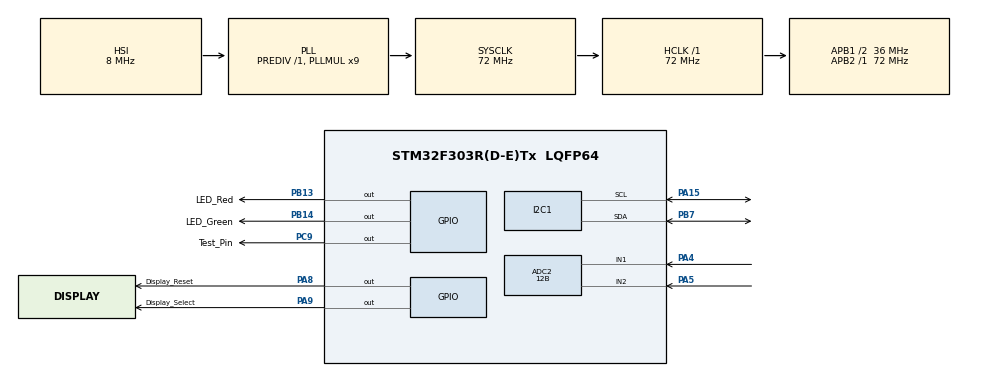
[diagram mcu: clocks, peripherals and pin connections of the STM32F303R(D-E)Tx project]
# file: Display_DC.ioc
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ADC1.Channel-1\#ChannelRegularConversion=ADC_CHANNEL_TEMPSENSOR
ADC1.NbrOfConversionFlag=1
ADC1.Offset-1\#ChannelRegularConversion=0
ADC1.OffsetNumber-1\#ChannelRegularConversion=ADC_OFFSET_NONE
ADC1.Rank-1\#ChannelRegularConversion=1
ADC1.SamplingTime-1\#ChannelRegularConversion=ADC_SAMPLETIME_1CYCLE_5
ADC1.master=1
ADC2.Channel-0\#ChannelRegularConversion=ADC_CHANNEL_2
ADC2.Channel-1\#ChannelRegularConversion=ADC_CHANNEL_1
ADC2.Channel-2\#ChannelRegularConversion=ADC_CHANNEL_VREFINT
ADC2.ContinuousConvMode=ENABLE
ADC2.DMAContinuousRequests=DISABLE
ADC2.NbrOfConversion=3
ADC2.NbrOfConversionFlag=1
ADC2.Offset-0\#ChannelRegularConversion=0
ADC2.Offset-1\#ChannelRegularConversion=0
ADC2.Offset-2\#ChannelRegularConversion=0
ADC2.OffsetNumber-0\#ChannelRegularConversion=ADC_OFFSET_NONE
ADC2.OffsetNumber-1\#ChannelRegularConversion=ADC_OFFSET_NONE
ADC2.OffsetNumber-2\#ChannelRegularConversion=ADC_OFFSET_NONE
ADC2.Rank-0\#ChannelRegularConversion=1
ADC2.Rank-1\#ChannelRegularConversion=2
ADC2.Rank-2\#ChannelRegularConversion=3
ADC2.Resolution=ADC_RESOLUTION_12B
ADC2.SamplingTime-0\#ChannelRegularConversion=ADC_SAMPLETIME_601CYCLES_5
ADC2.SamplingTime-1\#ChannelRegularConversion=ADC_SAMPLETIME_181CYCLES_5
ADC2.SamplingTime-2\#ChannelRegularConversion=ADC_SAMPLETIME_2CYCLES_5
Dma.ADC2.0.Direction=DMA_PERIPH_TO_MEMORY
Dma.ADC2.0.Instance=DMA2_Channel1
Dma.ADC2.0.MemDataAlignment=DMA_MDATAALIGN_WORD
Dma.ADC2.0.MemInc=DMA_MINC_ENABLE
Dma.ADC2.0.Mode=DMA_CIRCULAR
Dma.ADC2.0.PeriphDataAlignment=DMA_PDATAALIGN_WORD
Dma.ADC2.0.PeriphInc=DMA_PINC_DISABLE
Dma.ADC2.0.Priority=DMA_PRIORITY_LOW
Dma.Request0=ADC2
Mcu.Family=STM32F3
Mcu.Name=STM32F303R(D-E)Tx
Mcu.Package=LQFP64
NVIC.DMA2_Channel1_IRQn=true\:0\:0\:false\:false\:true\:false\:true
NVIC.PriorityGroup=NVIC_PRIORITYGROUP_4
PA13.Mode=Serial_Wire
PA13.Signal=SYS_JTMS-SWDIO
PA14.Mode=Serial_Wire
PA14.Signal=SYS_JTCK-SWCLK
PA15.Mode=I2C
PA15.Signal=I2C1_SCL
PA4.Mode=IN1-Single-Ended
PA4.Signal=ADC2_IN1
PA5.Mode=IN2-Single-Ended
PA5.Signal=ADC2_IN2
PA8.GPIO_Label=Display_Reset
PA8.Signal=GPIO_Output
PA9.GPIO_Label=Display_Select
PA9.Signal=GPIO_Output
PB13.GPIO_Label=LED_Red
PB13.Signal=GPIO_Output
PB14.GPIO_Label=LED_Green
PB14.Signal=GPIO_Output
PB7.Mode=I2C
PB7.Signal=I2C1_SDA
PC9.GPIO_Label=Test_Pin
PC9.Signal=GPIO_Output
PF0-OSC_IN.Mode=HSE-External-Oscillator
PF0-OSC_IN.Signal=RCC_OSC_IN
PF1-OSC_OUT.Mode=HSE-External-Oscillator
PF1-OSC_OUT.Signal=RCC_OSC_OUT
ProjectManager.HeapSize=0x200
ProjectManager.StackSize=0x400
ProjectManager.TargetToolchain=STM32CubeIDE
RCC.AHBFreq_Value=72000000
RCC.APB1CLKDivider=RCC_HCLK_DIV2
RCC.APB1Freq_Value=36000000
RCC.APB1TimFreq_Value=72000000
RCC.APB2Freq_Value=72000000
RCC.APB2TimFreq_Value=72000000
RCC.CortexFreq_Value=72000000
RCC.HCLKFreq_Value=72000000
RCC.HSE_VALUE=8000000
RCC.HSI_VALUE=8000000
RCC.LSE_VALUE=32768
RCC.PLLMUL=RCC_PLL_MUL9
RCC.SYSCLKFreq_VALUE=72000000
RCC.SYSCLKSourceVirtual=RCC_SYSCLKSOURCE_PLLCLK
RCC.USBFreq_Value=72000000
VP_ADC1_TempSens_Input.Mode=IN-TempSens
VP_ADC2_Vref_Input.Mode=IN-Vrefint
board=custom

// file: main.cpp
/* USER CODE BEGIN Header */
/**
  ******************************************************************************
  * @file           : main.c
  * @brief          : Main program body
  ******************************************************************************
  * @attention
  *
  * <h2><center>&copy; Copyright (c) 2020 STMicroelectronics.
  * All rights reserved.</center></h2>
  *
  * This software component is licensed by ST under BSD 3-Clause license,
  * the "License"; You may not use this file except in compliance with the
  * License. You may obtain a copy of the License at:
  *                        opensource.org/licenses/BSD-3-Clause
  *
  ******************************************************************************
  */
/* USER CODE END Header */
#include "main.h"

/* USER CODE BEGIN Includes */
#include <RJA_SSD1306.h>
/* USER CODE END Includes */

ADC_HandleTypeDef hadc1;
ADC_HandleTypeDef hadc2;
DMA_HandleTypeDef hdma_adc2;

I2C_HandleTypeDef hi2c1;

/* USER CODE BEGIN PV */
OLED DISPLAY;
/* USER CODE END PV */

void SystemClock_Config(void);
static void MX_GPIO_Init(void);
static void MX_DMA_Init(void);
static void MX_ADC1_Init(void);
static void MX_ADC2_Init(void);
static void MX_I2C1_Init(void);

/* USER CODE BEGIN 0 */
uint32_t rawInput[3];

float finalVoltage;
float finalVoltageDecimals;
int displayVoltage;
int displayVoltageDecimal1;
int displayVoltageDecimal2;

float currentSum;
float finalCurrent;
int displayCurrent;
/* USER CODE END 0 */

int main(void)
{

  /* MCU Configuration--------------------------------------------------------*/

  /* Reset of all peripherals, Initializes the Flash interface and the Systick. */
  HAL_Init();

  /* Configure the system clock */
  SystemClock_Config();

  /* Initialize all configured peripherals */
  MX_GPIO_Init();
  MX_DMA_Init();
  MX_ADC1_Init();
  MX_ADC2_Init();
  MX_I2C1_Init();
  /* USER CODE BEGIN 2 */
HAL_GPIO_WritePin(Display_Reset_GPIO_Port, Display_Reset_Pin, GPIO_PIN_SET);
HAL_GPIO_WritePin(Display_Select_GPIO_Port, Display_Select_Pin, GPIO_PIN_SET);

if (HAL_I2C_IsDeviceReady(&hi2c1, DISPLAY.getCAddress(), 1, 10) == HAL_OK) {
	HAL_GPIO_WritePin(LED_Green_GPIO_Port, LED_Green_Pin, GPIO_PIN_SET);

	DISPLAY.init(&hi2c1);
	DISPLAY.fill(0);
	DISPLAY.text(22, 20, "START", 1, 0, 2);
	DISPLAY.text(5, 40, "Netzteil", 1, 0, 2);
	DISPLAY.drawFullscreen();
	HAL_Delay(4000);

} else {
	HAL_GPIO_WritePin(LED_Red_GPIO_Port, LED_Red_Pin, GPIO_PIN_SET);
}

  /* USER CODE END 2 */

  /* Infinite loop */
  /* USER CODE BEGIN WHILE */
  while (1)
  {
	  //Reset variables
	  currentSum = 0;

	  //Get input
	  for (int i = 0; i < 2; i++){
	  	  HAL_ADC_Start_DMA(&hadc2, rawInput, 2); // start adc in DMA mode; [0] current,[1] voltage
	  }

	  //Get voltage decimals

	  finalVoltage = ((rawInput[1] - 15) * (50.1 / 3310)) + 1.237;
	  displayVoltage = (int) finalVoltage;

	  finalVoltageDecimals = (finalVoltage - displayVoltage) * 10;
	  displayVoltageDecimal1 = (int) finalVoltageDecimals;

	  finalVoltageDecimals = (finalVoltageDecimals - displayVoltageDecimal1) * 10;
	  displayVoltageDecimal2 = (int) finalVoltageDecimals;

	  //Get current
	  currentSum = 0;
	  for (int i = 0; i < 500; i++) {
		  HAL_ADC_Start_DMA(&hadc2, rawInput, 2);
		  currentSum += rawInput[0];
	  }
	  currentSum = currentSum / 500;

	  finalCurrent = (2000 * (currentSum/3075)) + ((-40 * (currentSum/2075)) + 80);

	  displayCurrent = (int) finalCurrent;

	  //Display Voltage

	  DISPLAY.fill(0);
	  DISPLAY.text(5, 10, "Netzteil", 1, 0, 2);
	  DISPLAY.text(2, 30, to_string(displayVoltage) + "." + to_string(displayVoltageDecimal1) + to_string(displayVoltageDecimal2) + " V", 1, 0, 2);
	  if (displayCurrent > 80 && displayCurrent < 2610) {
		  DISPLAY.text(2, 50, to_string(displayCurrent) + " mA", 1, 0, 2);
	  } else if (displayCurrent <= 80) {
		  DISPLAY.text(2, 50, "< " + to_string(displayCurrent) + " mA", 1, 0, 2);
	  } else if (displayCurrent >= 2610) {
		  DISPLAY.text(2, 50, "> " + to_string(displayCurrent) + "mA", 1, 0, 2);
	  }
	  DISPLAY.drawFullscreen();

    /* USER CODE END WHILE */

  }
}

void SystemClock_Config(void)
{
  RCC_OscInitTypeDef RCC_OscInitStruct = {0};
  RCC_ClkInitTypeDef RCC_ClkInitStruct = {0};
  RCC_PeriphCLKInitTypeDef PeriphClkInit = {0};

  /** Initializes the RCC Oscillators according to the specified parameters
  * in the RCC_OscInitTypeDef structure.
  */
  RCC_OscInitStruct.OscillatorType = RCC_OSCILLATORTYPE_HSI;
  RCC_OscInitStruct.HSIState = RCC_HSI_ON;
  RCC_OscInitStruct.HSICalibrationValue = RCC_HSICALIBRATION_DEFAULT;
  RCC_OscInitStruct.PLL.PLLState = RCC_PLL_ON;
  RCC_OscInitStruct.PLL.PLLSource = RCC_PLLSOURCE_HSI;
  RCC_OscInitStruct.PLL.PLLMUL = RCC_PLL_MUL9;
  RCC_OscInitStruct.PLL.PREDIV = RCC_PREDIV_DIV1;
  if (HAL_RCC_OscConfig(&RCC_OscInitStruct) != HAL_OK)
  {
    Error_Handler();
  }
  /** Initializes the CPU, AHB and APB buses clocks
  */
  RCC_ClkInitStruct.ClockType = RCC_CLOCKTYPE_HCLK|RCC_CLOCKTYPE_SYSCLK
                              |RCC_CLOCKTYPE_PCLK1|RCC_CLOCKTYPE_PCLK2;
  RCC_ClkInitStruct.SYSCLKSource = RCC_SYSCLKSOURCE_PLLCLK;
  RCC_ClkInitStruct.AHBCLKDivider = RCC_SYSCLK_DIV1;
  RCC_ClkInitStruct.APB1CLKDivider = RCC_HCLK_DIV2;
  RCC_ClkInitStruct.APB2CLKDivider = RCC_HCLK_DIV1;

  if (HAL_RCC_ClockConfig(&RCC_ClkInitStruct, FLASH_LATENCY_2) != HAL_OK)
  {
    Error_Handler();
  }
  PeriphClkInit.PeriphClockSelection = RCC_PERIPHCLK_I2C1|RCC_PERIPHCLK_ADC12;
  PeriphClkInit.Adc12ClockSelection = RCC_ADC12PLLCLK_DIV1;
  PeriphClkInit.I2c1ClockSelection = RCC_I2C1CLKSOURCE_HSI;
  if (HAL_RCCEx_PeriphCLKConfig(&PeriphClkInit) != HAL_OK)
  {
    Error_Handler();
  }
}

static void MX_ADC1_Init(void)
{

  ADC_MultiModeTypeDef multimode = {0};
  ADC_ChannelConfTypeDef sConfig = {0};

  /** Common config
  */
  hadc1.Instance = ADC1;
  hadc1.Init.ClockPrescaler = ADC_CLOCK_ASYNC_DIV1;
  hadc1.Init.Resolution = ADC_RESOLUTION_12B;
  hadc1.Init.ScanConvMode = ADC_SCAN_DISABLE;
  hadc1.Init.ContinuousConvMode = DISABLE;
  hadc1.Init.DiscontinuousConvMode = DISABLE;
  hadc1.Init.ExternalTrigConvEdge = ADC_EXTERNALTRIGCONVEDGE_NONE;
  hadc1.Init.ExternalTrigConv = ADC_SOFTWARE_START;
  hadc1.Init.DataAlign = ADC_DATAALIGN_RIGHT;
  hadc1.Init.NbrOfConversion = 1;
  hadc1.Init.DMAContinuousRequests = DISABLE;
  hadc1.Init.EOCSelection = ADC_EOC_SINGLE_CONV;
  hadc1.Init.LowPowerAutoWait = DISABLE;
  hadc1.Init.Overrun = ADC_OVR_DATA_OVERWRITTEN;
  if (HAL_ADC_Init(&hadc1) != HAL_OK)
  {
    Error_Handler();
  }
  /** Configure the ADC multi-mode
  */
  multimode.Mode = ADC_MODE_INDEPENDENT;
  if (HAL_ADCEx_MultiModeConfigChannel(&hadc1, &multimode) != HAL_OK)
  {
    Error_Handler();
  }
  /** Configure Regular Channel
  */
  sConfig.Channel = ADC_CHANNEL_TEMPSENSOR;
  sConfig.Rank = ADC_REGULAR_RANK_1;
  sConfig.SingleDiff = ADC_SINGLE_ENDED;
  sConfig.SamplingTime = ADC_SAMPLETIME_1CYCLE_5;
  sConfig.OffsetNumber = ADC_OFFSET_NONE;
  sConfig.Offset = 0;
  if (HAL_ADC_ConfigChannel(&hadc1, &sConfig) != HAL_OK)
  {
    Error_Handler();
  }

}

static void MX_ADC2_Init(void)
{

  ADC_ChannelConfTypeDef sConfig = {0};

  /** Common config
  */
  hadc2.Instance = ADC2;
  hadc2.Init.ClockPrescaler = ADC_CLOCK_ASYNC_DIV1;
  hadc2.Init.Resolution = ADC_RESOLUTION_12B;
  hadc2.Init.ScanConvMode = ADC_SCAN_ENABLE;
  hadc2.Init.ContinuousConvMode = ENABLE;
  hadc2.Init.DiscontinuousConvMode = DISABLE;
  hadc2.Init.ExternalTrigConvEdge = ADC_EXTERNALTRIGCONVEDGE_NONE;
  hadc2.Init.ExternalTrigConv = ADC_SOFTWARE_START;
  hadc2.Init.DataAlign = ADC_DATAALIGN_RIGHT;
  hadc2.Init.NbrOfConversion = 3;
  hadc2.Init.DMAContinuousRequests = DISABLE;
  hadc2.Init.EOCSelection = ADC_EOC_SINGLE_CONV;
  hadc2.Init.LowPowerAutoWait = DISABLE;
  hadc2.Init.Overrun = ADC_OVR_DATA_OVERWRITTEN;
  if (HAL_ADC_Init(&hadc2) != HAL_OK)
  {
    Error_Handler();
  }
  /** Configure Regular Channel
  */
  sConfig.Channel = ADC_CHANNEL_2;
  sConfig.Rank = ADC_REGULAR_RANK_1;
  sConfig.SingleDiff = ADC_SINGLE_ENDED;
  sConfig.SamplingTime = ADC_SAMPLETIME_601CYCLES_5;
  sConfig.OffsetNumber = ADC_OFFSET_NONE;
  sConfig.Offset = 0;
  if (HAL_ADC_ConfigChannel(&hadc2, &sConfig) != HAL_OK)
  {
    Error_Handler();
  }
  /** Configure Regular Channel
  */
  sConfig.Channel = ADC_CHANNEL_1;
  sConfig.Rank = ADC_REGULAR_RANK_2;
  sConfig.SamplingTime = ADC_SAMPLETIME_181CYCLES_5;
  if (HAL_ADC_ConfigChannel(&hadc2, &sConfig) != HAL_OK)
  {
    Error_Handler();
  }
  /** Configure Regular Channel
  */
  sConfig.Channel = ADC_CHANNEL_VREFINT;
  sConfig.Rank = ADC_REGULAR_RANK_3;
  sConfig.SamplingTime = ADC_SAMPLETIME_2CYCLES_5;
  if (HAL_ADC_ConfigChannel(&hadc2, &sConfig) != HAL_OK)
  {
    Error_Handler();
  }

}

static void MX_I2C1_Init(void)
{

  hi2c1.Instance = I2C1;
  hi2c1.Init.Timing = 0x2000090E;
  hi2c1.Init.OwnAddress1 = 0;
  hi2c1.Init.AddressingMode = I2C_ADDRESSINGMODE_7BIT;
  hi2c1.Init.DualAddressMode = I2C_DUALADDRESS_DISABLE;
  hi2c1.Init.OwnAddress2 = 0;
  hi2c1.Init.OwnAddress2Masks = I2C_OA2_NOMASK;
  hi2c1.Init.GeneralCallMode = I2C_GENERALCALL_DISABLE;
  hi2c1.Init.NoStretchMode = I2C_NOSTRETCH_DISABLE;
  if (HAL_I2C_Init(&hi2c1) != HAL_OK)
  {
    Error_Handler();
  }
  /** Configure Analogue filter
  */
  if (HAL_I2CEx_ConfigAnalogFilter(&hi2c1, I2C_ANALOGFILTER_ENABLE) != HAL_OK)
  {
    Error_Handler();
  }
  /** Configure Digital filter
  */
  if (HAL_I2CEx_ConfigDigitalFilter(&hi2c1, 0) != HAL_OK)
  {
    Error_Handler();
  }

}

static void MX_DMA_Init(void)
{

  /* DMA controller clock enable */
  __HAL_RCC_DMA2_CLK_ENABLE();

  /* DMA interrupt init */
  /* DMA2_Channel1_IRQn interrupt configuration */
  HAL_NVIC_SetPriority(DMA2_Channel1_IRQn, 0, 0);
  HAL_NVIC_EnableIRQ(DMA2_Channel1_IRQn);

}

static void MX_GPIO_Init(void)
{
  GPIO_InitTypeDef GPIO_InitStruct = {0};

  /* GPIO Ports Clock Enable */
  __HAL_RCC_GPIOF_CLK_ENABLE();
  __HAL_RCC_GPIOA_CLK_ENABLE();
  __HAL_RCC_GPIOB_CLK_ENABLE();
  __HAL_RCC_GPIOC_CLK_ENABLE();

  /*Configure GPIO pin Output Level */
  HAL_GPIO_WritePin(GPIOB, LED_Red_Pin|LED_Green_Pin, GPIO_PIN_RESET);

  /*Configure GPIO pin Output Level */
  HAL_GPIO_WritePin(Test_Pin_GPIO_Port, Test_Pin_Pin, GPIO_PIN_RESET);

  /*Configure GPIO pin Output Level */
  HAL_GPIO_WritePin(GPIOA, Display_Reset_Pin|Display_Select_Pin, GPIO_PIN_RESET);

  /*Configure GPIO pins : LED_Red_Pin LED_Green_Pin */
  GPIO_InitStruct.Pin = LED_Red_Pin|LED_Green_Pin;
  GPIO_InitStruct.Mode = GPIO_MODE_OUTPUT_PP;
  GPIO_InitStruct.Pull = GPIO_NOPULL;
  GPIO_InitStruct.Speed = GPIO_SPEED_FREQ_LOW;
  HAL_GPIO_Init(GPIOB, &GPIO_InitStruct);

  /*Configure GPIO pin : Test_Pin_Pin */
  GPIO_InitStruct.Pin = Test_Pin_Pin;
  GPIO_InitStruct.Mode = GPIO_MODE_OUTPUT_PP;
  GPIO_InitStruct.Pull = GPIO_NOPULL;
  GPIO_InitStruct.Speed = GPIO_SPEED_FREQ_LOW;
  HAL_GPIO_Init(Test_Pin_GPIO_Port, &GPIO_InitStruct);

  /*Configure GPIO pins : Display_Reset_Pin Display_Select_Pin */
  GPIO_InitStruct.Pin = Display_Reset_Pin|Display_Select_Pin;
  GPIO_InitStruct.Mode = GPIO_MODE_OUTPUT_PP;
  GPIO_InitStruct.Pull = GPIO_NOPULL;
  GPIO_InitStruct.Speed = GPIO_SPEED_FREQ_LOW;
  HAL_GPIO_Init(GPIOA, &GPIO_InitStruct);

}

void Error_Handler(void)
{
  __disable_irq();
  while (1)
  {
  }
}

/************************ (C) COPYRIGHT STMicroelectronics *****END OF FILE****/
